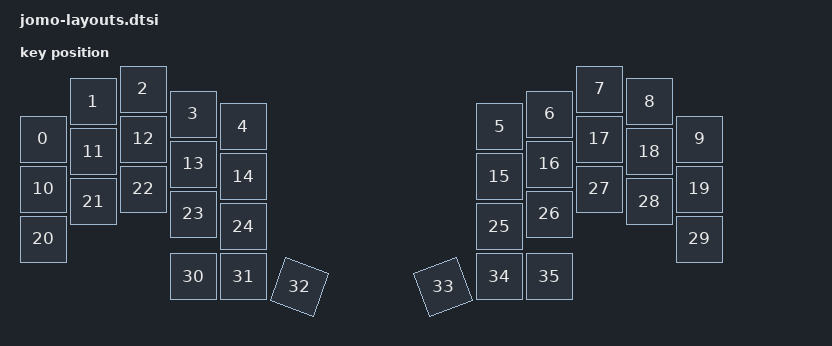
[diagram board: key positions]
#include <physical_layouts.dtsi>

/ {
    physical_layout0: physical_layout_0 {
        compatible = "zmk,physical-layout";
        display-name = "Jomo";

        kscan = <&kscan0>;
        transform = <&matrix_transform0>;

        keys  //                     w   h    x    y     rot    rx    ry
            = <&key_physical_attrs 100 100    0  100       0     0     0>
            , <&key_physical_attrs 100 100  100   25       0     0     0>
            , <&key_physical_attrs 100 100  200    0       0     0     0>
            , <&key_physical_attrs 100 100  300   50       0     0     0>
            , <&key_physical_attrs 100 100  400   75       0     0     0>
            , <&key_physical_attrs 100 100  913   75       0     0     0>
            , <&key_physical_attrs 100 100 1013   50       0     0     0>
            , <&key_physical_attrs 100 100 1113    0       0     0     0>
            , <&key_physical_attrs 100 100 1213   25       0     0     0>
            , <&key_physical_attrs 100 100 1313  100       0     0     0>
            , <&key_physical_attrs 100 100    0  200       0     0     0>
            , <&key_physical_attrs 100 100  100  125       0     0     0>
            , <&key_physical_attrs 100 100  200  100       0     0     0>
            , <&key_physical_attrs 100 100  300  150       0     0     0>
            , <&key_physical_attrs 100 100  400  175       0     0     0>
            , <&key_physical_attrs 100 100  913  175       0     0     0>
            , <&key_physical_attrs 100 100 1013  150       0     0     0>
            , <&key_physical_attrs 100 100 1113  100       0     0     0>
            , <&key_physical_attrs 100 100 1213  125       0     0     0>
            , <&key_physical_attrs 100 100 1313  200       0     0     0>
            , <&key_physical_attrs 100 100    0  300       0     0     0>
            , <&key_physical_attrs 100 100  100  225       0     0     0>
            , <&key_physical_attrs 100 100  200  200       0     0     0>
            , <&key_physical_attrs 100 100  300  250       0     0     0>
            , <&key_physical_attrs 100 100  400  275       0     0     0>
            , <&key_physical_attrs 100 100  913  275       0     0     0>
            , <&key_physical_attrs 100 100 1013  250       0     0     0>
            , <&key_physical_attrs 100 100 1113  200       0     0     0>
            , <&key_physical_attrs 100 100 1213  225       0     0     0>
            , <&key_physical_attrs 100 100 1313  300       0     0     0>
            , <&key_physical_attrs 100 100  300  375       0     0     0>
            , <&key_physical_attrs 100 100  400  375       0     0     0>
            , <&key_physical_attrs 100 100  513  396    2000   563   446>
            , <&key_physical_attrs 100 100  800  396 (-2000)   850   446>
            , <&key_physical_attrs 100 100  913  375       0     0     0>
            , <&key_physical_attrs 100 100 1013  375       0     0     0>
            ;
    };
};
